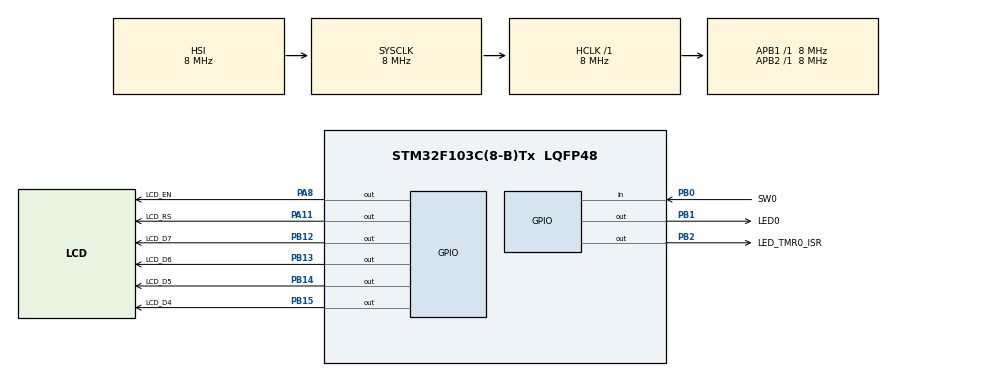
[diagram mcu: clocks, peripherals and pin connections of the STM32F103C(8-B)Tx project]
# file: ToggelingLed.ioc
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Mcu.Family=STM32F1
Mcu.Name=STM32F103C(8-B)Tx
Mcu.Package=LQFP48
NVIC.PriorityGroup=NVIC_PRIORITYGROUP_4
NVIC.TIM4_IRQn=true\:15\:0\:false\:false\:true\:false\:true\:true
NVIC.TimeBase=TIM4_IRQn
NVIC.TimeBaseIP=TIM4
PA11.GPIO_Label=LCD_RS
PA11.Signal=GPIO_Output
PA8.GPIO_Label=LCD_EN
PA8.Signal=GPIO_Output
PB0.GPIO_Label=SW0
PB0.GPIO_PuPd=GPIO_PULLUP
PB0.Signal=GPIO_Input
PB1.GPIO_Label=LED0
PB1.GPIO_Speed=GPIO_SPEED_FREQ_HIGH
PB1.Signal=GPIO_Output
PB12.GPIO_Label=LCD_D7
PB12.Signal=GPIO_Output
PB13.GPIO_Label=LCD_D6
PB13.Signal=GPIO_Output
PB14.GPIO_Label=LCD_D5
PB14.Signal=GPIO_Output
PB15.GPIO_Label=LCD_D4
PB15.Signal=GPIO_Output
PB2.GPIO_Label=LED_TMR0_ISR
PB2.GPIO_Speed=GPIO_SPEED_FREQ_HIGH
PB2.Signal=GPIO_Output
ProjectManager.HeapSize=0x200
ProjectManager.StackSize=0x400
ProjectManager.TargetToolchain=STM32CubeIDE
RCC.AHBFreq_Value=8000000
RCC.APB1Freq_Value=8000000
RCC.APB1TimFreq_Value=8000000
RCC.APB2Freq_Value=8000000
RCC.APB2TimFreq_Value=8000000
RCC.HCLKFreq_Value=8000000
RCC.PLLMUL=RCC_PLL_MUL4
RCC.SYSCLKFreq_VALUE=8000000
RCC.USBFreq_Value=16000000
VP_SYS_VS_ND.Mode=No_Debug
VP_SYS_VS_tim4.Mode=TIM4
board=custom

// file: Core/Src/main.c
/* USER CODE BEGIN Header */
/**
  ******************************************************************************
  * @file           : main.c
  * @brief          : Main program body
  ******************************************************************************
  * @attention
  *
  * Copyright (c) 2023 STMicroelectronics.
  * All rights reserved.
  *
  * This software is licensed under terms that can be found in the LICENSE file
  * in the root directory of this software component.
  * If no LICENSE file comes with this software, it is provided AS-IS.
  *
  ******************************************************************************
  */
/* USER CODE END Header */
#include "main.h"

/* USER CODE BEGIN Includes */
#include "lcd16.h"
/* USER CODE END Includes */

/* USER CODE BEGIN PV */
uint16_t readADC0 = 0 ;
lcdConfig_t lcdConfigX;
/* USER CODE END PV */

void SystemClock_Config(void);
static void MX_GPIO_Init(void);

int main(void)
{

  /* MCU Configuration--------------------------------------------------------*/

  /* Reset of all peripherals, Initializes the Flash interface and the Systick. */
  HAL_Init();

  /* Configure the system clock */
  SystemClock_Config();

  /* Initialize all configured peripherals */
  MX_GPIO_Init();
  /* USER CODE BEGIN 2 */

  lcdConfigX.dots = _40DOTS;
  lcdConfigX.lines = _2LINE;
  lcdConfigX.mode = _4BIT;
     lcdInit(&lcdConfigX);
    lcd_Send_Command(LCD_CURS_OFF_COMMAND | LCD_BLINK_OFF_COMMAND | LCD_DATA_ON_COMMAND);
    lcdWriteString("STM32F103C8");
  	lcd_Send_Command(LCD_CURSOR_POS_2ND_LINE_COMMAND);
  	lcdWriteString("C.R.E.W T.E.Q");
  	HAL_Delay(1000);
  	lcd_Send_Command(LCD_CLR_COMMAND);
  	HAL_Delay(1000);
  	lcdWriteString("C.R.E.W T.E.Q");

  	  	lcd_Send_Command(LCD_CURSOR_POS_2ND_LINE_COMMAND);
  	  lcdWriteString("__Company__");

  //   HAL_SYSTICK_Config(HAL_RCC_GetHCLKFreq()/1000);//1ms
   //  HAL_SYSTICK_CLKSourceConfig(SYSTICK_CLKSOURCE_HCLK);
    // HAL_NVIC_SetPriority(SysTick_IRQn	, 0, 0);

    // NVIC_EnableIRQ(SysTick_IRQn);
  /* USER CODE END 2 */

  /* Infinite loop */
  while (1)
  {

  }
}

void SystemClock_Config(void)
{
  RCC_OscInitTypeDef RCC_OscInitStruct = {0};
  RCC_ClkInitTypeDef RCC_ClkInitStruct = {0};

  /** Initializes the RCC Oscillators according to the specified parameters
  * in the RCC_OscInitTypeDef structure.
  */
  RCC_OscInitStruct.OscillatorType = RCC_OSCILLATORTYPE_HSI;
  RCC_OscInitStruct.HSIState = RCC_HSI_ON;
  RCC_OscInitStruct.HSICalibrationValue = RCC_HSICALIBRATION_DEFAULT;
  RCC_OscInitStruct.PLL.PLLState = RCC_PLL_NONE;
  if (HAL_RCC_OscConfig(&RCC_OscInitStruct) != HAL_OK)
  {
    Error_Handler();
  }

  /** Initializes the CPU, AHB and APB buses clocks
  */
  RCC_ClkInitStruct.ClockType = RCC_CLOCKTYPE_HCLK|RCC_CLOCKTYPE_SYSCLK
                              |RCC_CLOCKTYPE_PCLK1|RCC_CLOCKTYPE_PCLK2;
  RCC_ClkInitStruct.SYSCLKSource = RCC_SYSCLKSOURCE_HSI;
  RCC_ClkInitStruct.AHBCLKDivider = RCC_SYSCLK_DIV1;
  RCC_ClkInitStruct.APB1CLKDivider = RCC_HCLK_DIV1;
  RCC_ClkInitStruct.APB2CLKDivider = RCC_HCLK_DIV1;

  if (HAL_RCC_ClockConfig(&RCC_ClkInitStruct, FLASH_LATENCY_0) != HAL_OK)
  {
    Error_Handler();
  }
}

static void MX_GPIO_Init(void)
{
  GPIO_InitTypeDef GPIO_InitStruct = {0};

  /* GPIO Ports Clock Enable */
  __HAL_RCC_GPIOB_CLK_ENABLE();
  __HAL_RCC_GPIOA_CLK_ENABLE();

  /*Configure GPIO pin Output Level */
  HAL_GPIO_WritePin(GPIOB, LED0_Pin|LED_TMR0_ISR_Pin|LCD_D7_Pin|LCD_D6_Pin
                          |LCD_D5_Pin|LCD_D4_Pin, GPIO_PIN_RESET);

  /*Configure GPIO pin Output Level */
  HAL_GPIO_WritePin(GPIOA, LCD_EN_Pin|LCD_RS_Pin, GPIO_PIN_RESET);

  /*Configure GPIO pin : SW0_Pin */
  GPIO_InitStruct.Pin = SW0_Pin;
  GPIO_InitStruct.Mode = GPIO_MODE_INPUT;
  GPIO_InitStruct.Pull = GPIO_PULLUP;
  HAL_GPIO_Init(SW0_GPIO_Port, &GPIO_InitStruct);

  /*Configure GPIO pins : LED0_Pin LED_TMR0_ISR_Pin */
  GPIO_InitStruct.Pin = LED0_Pin|LED_TMR0_ISR_Pin;
  GPIO_InitStruct.Mode = GPIO_MODE_OUTPUT_PP;
  GPIO_InitStruct.Pull = GPIO_NOPULL;
  GPIO_InitStruct.Speed = GPIO_SPEED_FREQ_HIGH;
  HAL_GPIO_Init(GPIOB, &GPIO_InitStruct);

  /*Configure GPIO pins : LCD_D7_Pin LCD_D6_Pin LCD_D5_Pin LCD_D4_Pin */
  GPIO_InitStruct.Pin = LCD_D7_Pin|LCD_D6_Pin|LCD_D5_Pin|LCD_D4_Pin;
  GPIO_InitStruct.Mode = GPIO_MODE_OUTPUT_PP;
  GPIO_InitStruct.Pull = GPIO_NOPULL;
  GPIO_InitStruct.Speed = GPIO_SPEED_FREQ_LOW;
  HAL_GPIO_Init(GPIOB, &GPIO_InitStruct);

  /*Configure GPIO pins : LCD_EN_Pin LCD_RS_Pin */
  GPIO_InitStruct.Pin = LCD_EN_Pin|LCD_RS_Pin;
  GPIO_InitStruct.Mode = GPIO_MODE_OUTPUT_PP;
  GPIO_InitStruct.Pull = GPIO_NOPULL;
  GPIO_InitStruct.Speed = GPIO_SPEED_FREQ_LOW;
  HAL_GPIO_Init(GPIOA, &GPIO_InitStruct);

}

void HAL_TIM_PeriodElapsedCallback(TIM_HandleTypeDef *htim)
{
  if (htim->Instance == TIM4) {
    HAL_IncTick();
  }
}

void Error_Handler(void)
{
  __disable_irq();
  while (1)
  {
  }
}
